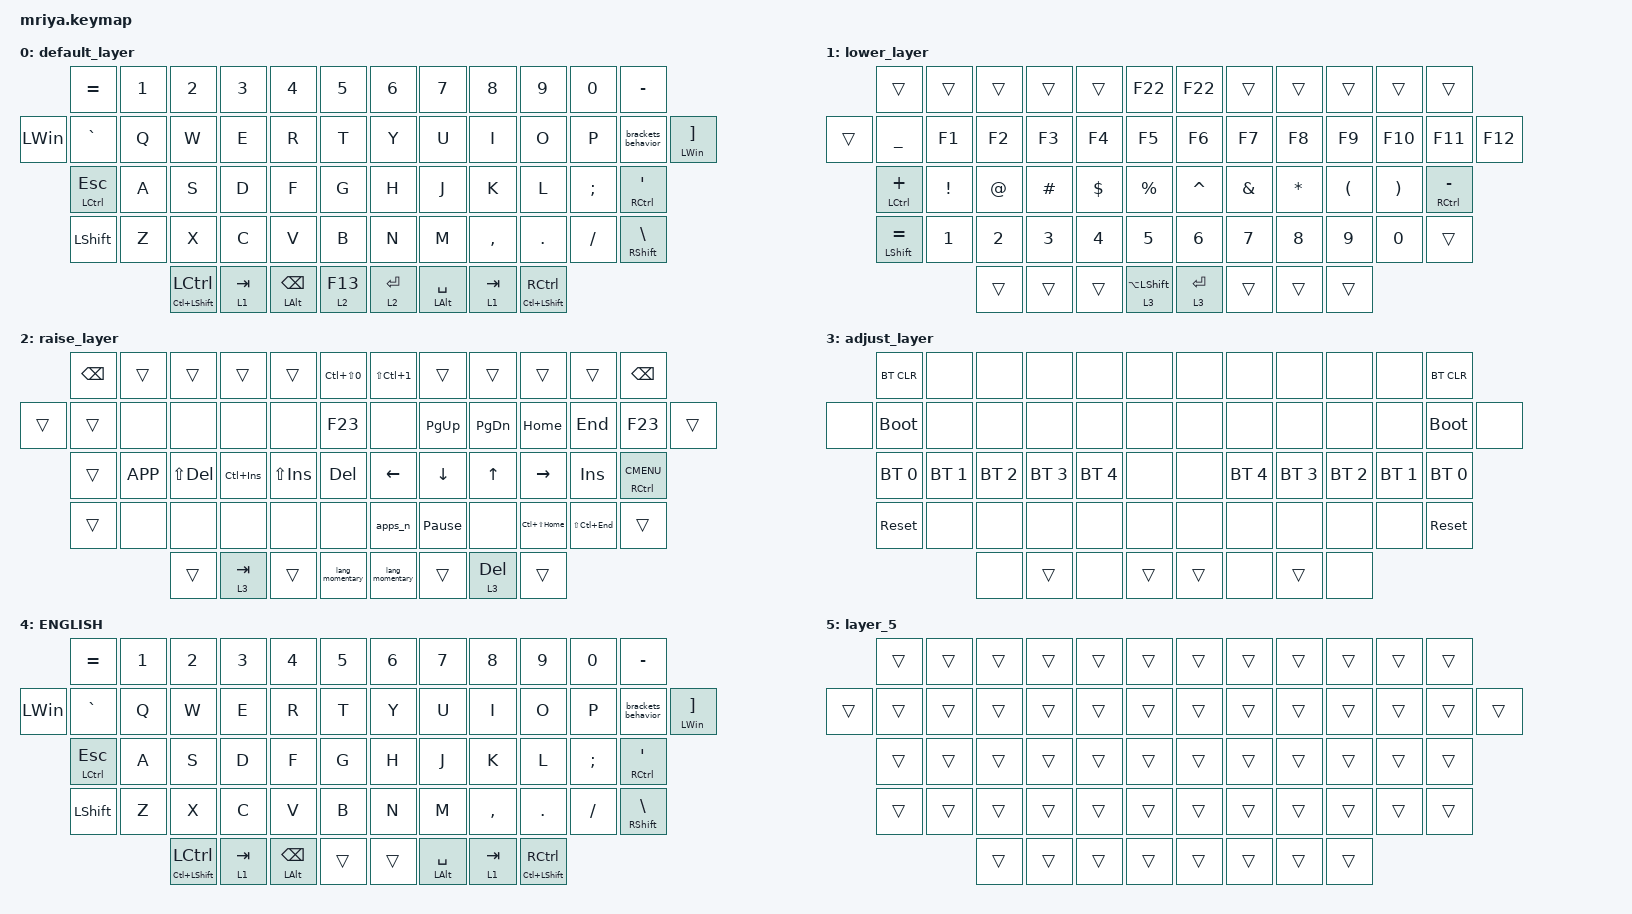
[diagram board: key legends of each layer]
/*
 * Copyright (c) 2023 Andrei Gaevskii
 *
 * SPDX-License-Identifier: MIT
 */

#include <behaviors.dtsi>
#include <dt-bindings/zmk/bt.h>
#include <dt-bindings/zmk/keys.h>

#define DEF 0
#define LWR 1
#define RSE 2
#define ADJ 3

&lt { quick_tap_ms = <200>; };

&mt { quick_tap_ms = <200>; };

/ {
    behaviors {
        sb: sb {
            compatible = "zmk,behavior-hold-tap";
            label = "SHIFT_BEHAVIOR";
            bindings = <&kp>, <&kp>;

            #binding-cells = <2>;
            tapping-term-ms = <200>;
            flavor = "balanced";
            quick-tap-ms = <170>;
        };

        brackets_behavior: brackets_behavior {
            compatible = "zmk,behavior-mod-morph";
            label = "BRACKETS_BEHAVIOR";
            bindings = <&kp LEFT_BRACKET>, <&kp RIGHT_BRACKET>;

            #binding-cells = <0>;
            mods = <(MOD_LALT)>;
        };
    };

    macros {
        menu_a: menu_a {
            compatible = "zmk,behavior-macro";
            #binding-cells = <0>;
            bindings =
                <&macro_press>,
                <&kp K_APPLICATION>,
                <&macro_tap>,
                <&kp A>,
                <&macro_release>,
                <&kp K_APPLICATION>;

            label = "MENU_A";
        };

        apps_n: apps_n {
            compatible = "zmk,behavior-macro";
            #binding-cells = <0>;
            bindings =
                <&macro_press>,
                <&kp K_APPLICATION>,
                <&macro_tap>,
                <&kp N>,
                <&macro_release>,
                <&kp K_APPLICATION>;

            label = "APPS_N";
        };

        lang_momentary: lang_momentary {
            compatible = "zmk,behavior-macro";
            #binding-cells = <0>;
            bindings =
                <&macro_press>,
                <&input_en &tog 4>,
                <&macro_pause_for_release>,
                <&input_ru &tog 4>;

            label = "LANG_MOMENTARY";
        };

        input_en: input_en {
            compatible = "zmk,behavior-macro";
            #binding-cells = <0>;
            bindings = <&kp LS(LC(NUMBER_0))>;
            label = "INPUT_EN";
        };

        input_ru: input_ru {
            compatible = "zmk,behavior-macro";
            #binding-cells = <0>;
            bindings = <&kp LS(LC(NUMBER_1))>;
            label = "INPUT_RU";
        };

        input_toggle: input_toggle {
            compatible = "zmk,behavior-macro";
            #binding-cells = <0>;
            bindings = <&kp LA(LEFT_SHIFT)>;
            label = "INPUT_TOGGLE";
        };
    };

    keymap {
        compatible = "zmk,keymap";

        default_layer {
            bindings = <
          &kp EQUAL         &kp N1  &kp N2                           &kp N3     &kp N4                  &kp N5       &kp N6       &kp N7              &kp N8     &kp N9                            &kp N0    &kp MINUS
&kp LWIN  &kp GRAVE         &kp Q   &kp W                            &kp E      &kp R                   &kp T        &kp Y        &kp U               &kp I      &kp O                             &kp P     &brackets_behavior    &sb LEFT_WIN RIGHT_BRACKET
          &sb LCTRL ESCAPE  &kp A   &kp S                            &kp D      &kp F                   &kp G        &kp H        &kp J               &kp K      &kp L                             &kp SEMI  &sb RCTRL SQT
          &kp LEFT_SHIFT    &kp Z   &kp X                            &kp C      &kp V                   &kp B        &kp N        &kp M               &kp COMMA  &kp DOT                           &kp FSLH  &mt RSHIFT BACKSLASH
                                    &mt LC(LEFT_SHIFT) LEFT_CONTROL  &lt 1 TAB  &sb LEFT_ALT BACKSPACE  &lt 2 F13    &lt 2 ENTER  &sb LEFT_ALT SPACE  &lt 1 TAB  &mt LC(LEFT_SHIFT) RIGHT_CONTROL
            >;
        };

        lower_layer {
            bindings = <
        &trans            &trans    &trans  &trans    &trans    &kp F22            &kp F22      &trans    &trans    &trans    &trans    &trans
&trans  &kp UNDER         &kp F1    &kp F2  &kp F3    &kp F4    &kp F5             &kp F6       &kp F7    &kp F8    &kp F9    &kp F10   &kp F11          &kp F12
        &sb LCTRL PLUS    &kp EXCL  &kp AT  &kp HASH  &kp DLLR  &kp PRCNT          &kp CARET    &kp AMPS  &kp STAR  &kp LPAR  &kp RPAR  &sb RCTRL MINUS
        &mt LSHIFT EQUAL  &kp N1    &kp N2  &kp N3    &kp N4    &kp N5             &kp N6       &kp N7    &kp N8    &kp N9    &kp N0    &trans
                                    &trans  &trans    &trans    &lt 3 LA(LSHFT)    &lt 3 ENTER  &trans    &trans    &trans
            >;
        };

        raise_layer {
            bindings = <
        &kp BACKSPACE  &trans     &trans          &trans          &trans          &kp LC(LS(N0))     &kp LS(LC(N1))   &trans           &trans         &trans            &trans           &kp BACKSPACE
&trans  &trans         &none      &none           &none           &none           &kp F23            &none            &kp PAGE_UP      &kp PAGE_DOWN  &kp HOME          &kp END          &kp F23            &trans
        &trans         &kp K_APP  &kp LS(DELETE)  &kp LC(INSERT)  &kp LS(INSERT)  &kp DELETE         &kp LEFT         &kp DOWN         &kp UP         &kp RIGHT         &kp INSERT       &mt RCTRL K_CMENU
        &trans         &none      &none           &none           &none           &none              &apps_n          &kp PAUSE_BREAK  &none          &kp LC(LS(HOME))  &kp LS(LC(END))  &trans
                                  &trans          &lt 3 TAB       &trans          &lang_momentary    &lang_momentary  &trans           &lt 3 DELETE   &trans
            >;
        };

        adjust_layer {
            bindings = <
       &bt BT_CLR    &none         &none         &none         &none         &none     &none   &none         &none         &none         &none         &bt BT_CLR
&none  &bootloader   &none         &none         &none         &none         &none     &none   &none         &none         &none         &none         &bootloader   &none
       &bt BT_SEL 0  &bt BT_SEL 1  &bt BT_SEL 2  &bt BT_SEL 3  &bt BT_SEL 4  &none     &none   &bt BT_SEL 4  &bt BT_SEL 3  &bt BT_SEL 2  &bt BT_SEL 1  &bt BT_SEL 0
       &sys_reset    &none         &none         &none         &none         &none     &none   &none         &none         &none         &none         &sys_reset
                                   &none         &trans        &none         &trans    &trans  &none         &trans        &none
            >;
        };

        ENGLISH {
            bindings = <
          &kp EQUAL         &kp N1  &kp N2                           &kp N3     &kp N4                  &kp N5    &kp N6  &kp N7              &kp N8     &kp N9                            &kp N0    &kp MINUS
&kp LWIN  &kp GRAVE         &kp Q   &kp W                            &kp E      &kp R                   &kp T     &kp Y   &kp U               &kp I      &kp O                             &kp P     &brackets_behavior    &sb LEFT_WIN RIGHT_BRACKET
          &sb LCTRL ESCAPE  &kp A   &kp S                            &kp D      &kp F                   &kp G     &kp H   &kp J               &kp K      &kp L                             &kp SEMI  &sb RCTRL SQT
          &kp LEFT_SHIFT    &kp Z   &kp X                            &kp C      &kp V                   &kp B     &kp N   &kp M               &kp COMMA  &kp DOT                           &kp FSLH  &mt RSHIFT BACKSLASH
                                    &mt LC(LEFT_SHIFT) LEFT_CONTROL  &lt 1 TAB  &sb LEFT_ALT BACKSPACE  &trans    &trans  &sb LEFT_ALT SPACE  &lt 1 TAB  &mt LC(LEFT_SHIFT) RIGHT_CONTROL
            >;
        };

        layer_5 {
            bindings = <
        &trans  &trans  &trans  &trans  &trans  &trans    &trans  &trans  &trans  &trans  &trans  &trans
&trans  &trans  &trans  &trans  &trans  &trans  &trans    &trans  &trans  &trans  &trans  &trans  &trans  &trans
        &trans  &trans  &trans  &trans  &trans  &trans    &trans  &trans  &trans  &trans  &trans  &trans
        &trans  &trans  &trans  &trans  &trans  &trans    &trans  &trans  &trans  &trans  &trans  &trans
                        &trans  &trans  &trans  &trans    &trans  &trans  &trans  &trans
            >;
        };
    };
};
